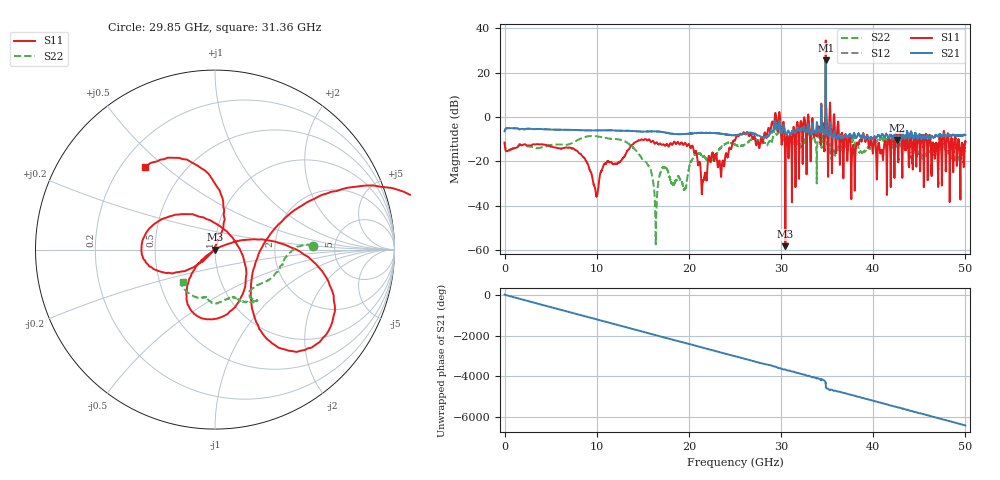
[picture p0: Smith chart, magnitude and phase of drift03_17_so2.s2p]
!Created with skrf (http://scikit-rf.org).
# Hz S RI R 50.0
!freq ReS11 ImS11 ReS21 ImS21 ReS12 ImS12 ReS22 ImS22
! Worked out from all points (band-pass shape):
!   10001 points, 300 kHz to 50 GHz, reference 50 ohm
!   highest |S21| = 25.50 dB at 34.85 GHz (marker M1); lowest = -10.4 dB at 42.56 GHz (marker M2)
!   |S21| within 3 dB of the highest: 34.84377 GHz to 34.84623 GHz (2.462 MHz wide, 0.00707 % of centre)
!   lowest |S11| = -58.2 dB at 30.47 GHz (marker M3), VSWR 1.00, Z = 49.9 - j0.0231 ohm
!   |S11| at or under -10 dB: start of sweep to 15.23 GHz; 15.33 GHz to 25.05 GHz (9.727 GHz wide, 48.2 % of centre); 40.22 GHz to 41.64 GHz (1.42 GHz wide, 3.47 % of centre) (the widest 3 of 57)
!   |S22| runs from -57.3 to 16.5 dB; largest |S21 - S12| = 2.6
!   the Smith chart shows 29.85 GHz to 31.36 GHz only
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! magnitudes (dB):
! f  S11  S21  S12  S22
! 300 kHz  -11.5  -6.5  -6.5  -11.4
! 8.335 GHz  -17.1  -6.0  -6.0  -9.6
! 9.955 GHz  -35.7  -6.1  -6.1  -8.7
! 11 GHz  -20.9  -6.0  -6.1  -9.5
! 15.51 GHz  -10.5  -6.6  -6.6  -21.4
! 16.37 GHz  -11.9  -6.5  -6.5  -46.4
! 16.67 GHz  -12.4  -6.5  -6.5  -29.4
! 17.32 GHz  -12.6  -6.9  -6.9  -22.9
! 19.54 GHz  -11.8  -7.7  -7.7  -32.6
! 20.21 GHz  -13.9  -7.4  -7.5  -20.2
! 21.55 GHz  -28.5  -7.2  -7.2  -17.6
! 25 GHz  -10.6  -8.3  -8.2  -12.5
! 29.6 GHz  -5.6  -5.7  -5.9  -7.8
! 30.47 GHz  -58.2  -7.2  -7.2  -9.1
! 33.34 GHz  -3.8  -6.9  -6.9  -9.5
! 34.85 GHz  34.4  25.5  25.3  16.5
! 35.63 GHz  -5.9  -9.3  -9.2  -15.8
! 37.82 GHz  -12.8  -8.4  -8.4  -10.1
! 38.81 GHz  -9.6  -8.4  -8.4  -16.1
! 41.67 GHz  -9.6  -9.5  -9.4  -11.4
! 42.56 GHz  -8.4  -10.4  -10.5  -13.1
! 50 GHz  -11.1  -8.1  -8.2  -15.6
